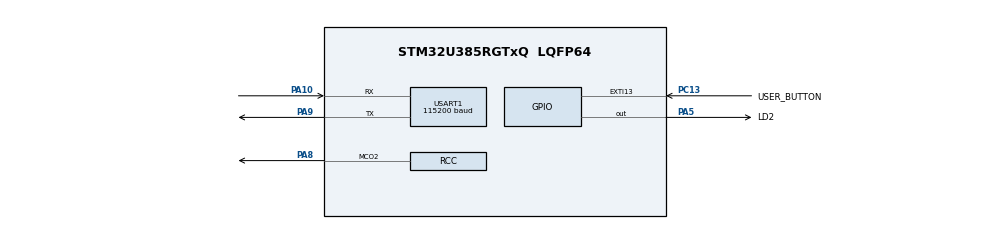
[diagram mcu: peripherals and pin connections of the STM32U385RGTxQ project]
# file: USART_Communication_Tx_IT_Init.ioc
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CORTEX_M33_NS.userName=CORTEX_M33
Mcu.Family=STM32U3
Mcu.Name=STM32U385RGTxQ
Mcu.Package=LQFP64
NVIC.EXTI13_IRQn=true\:3\:0\:true\:false\:true\:true\:true\:true
NVIC.PriorityGroup=NVIC_PRIORITYGROUP_4
NVIC.USART1_IRQn=true\:0\:0\:false\:false\:true\:true\:true\:true
PA10.GPIO_PuPd=GPIO_PULLUP
PA10.GPIO_Speed=GPIO_SPEED_FREQ_HIGH
PA10.Mode=Asynchronous
PA10.Signal=USART1_RX
PA5.GPIO_Label=LD2
PA5.GPIO_PuPd=GPIO_NOPULL
PA5.Signal=GPIO_Output
PA8.Mode=Clock-out-2
PA8.Signal=RCC_MCO2
PA9.GPIO_PuPd=GPIO_PULLUP
PA9.GPIO_Speed=GPIO_SPEED_FREQ_HIGH
PA9.Mode=Asynchronous
PA9.Signal=USART1_TX
PC13.GPIO_Label=USER_BUTTON
PC13.GPIO_ModeDefaultEXTI=GPIO_MODE_IT_RISING
PC13.GPIO_PuPd=GPIO_PULLDOWN
PC13.Signal=GPXTI13
ProjectManager.HeapSize=0x200
ProjectManager.StackSize=0x400
ProjectManager.TargetToolchain=EWARM V9.20
RCC.ADCFreq_Value=96000000
RCC.AHBFreq_Value=96000000
RCC.APB1Freq_Value=96000000
RCC.APB1TimFreq_Value=96000000
RCC.APB2Freq_Value=96000000
RCC.APB2TimFreq_Value=96000000
RCC.APB3Freq_Value=96000000
RCC.CortexFreq_Value=12000000
RCC.HCLKFreq_Value=96000000
RCC.HSE_VALUE=16000000
RCC.HSI48_VALUE=48000000
RCC.HSI_VALUE=16000000
RCC.LSE_VALUE=32768
RCC.LSIDIV_VALUE=32000
RCC.MSISDIV=RCC_MSI_DIV1
RCC.MSI_VALUE=96000000
RCC.PWR_Regulator_Voltage_Scale=PWR_REGULATOR_VOLTAGE_SCALE1
RCC.SYSCLKFreq_VALUE=96000000
RCC.USBFreq_Value=96000000
USART1.BaudRate=115200
USART1.DMADisableonRxErrorParam=ADVFEATURE_DMA_ENABLEONRXERROR
USART1.DataInvertParam=ADVFEATURE_DATAINV_DISABLE
USART1.MSBFirstParam=ADVFEATURE_MSBFIRST_DISABLE
USART1.Mode=MODE_TX_RX
USART1.OneBitSampling=UART_ONE_BIT_SAMPLE_DISABLE
USART1.OverSampling=UART_OVERSAMPLING_16
USART1.OverrunDisableParam=ADVFEATURE_OVERRUN_ENABLE
USART1.Parity=PARITY_NONE
USART1.RxPinLevelInvertParam=ADVFEATURE_RXINV_DISABLE
USART1.StopBits=STOPBITS_1
USART1.SwapParam=ADVFEATURE_SWAP_DISABLE
USART1.TxPinLevelInvertParam=ADVFEATURE_TXINV_DISABLE
USART1.VirtualMode-Asynchronous=VM_ASYNC
USART1.WordLength=WORDLENGTH_8B
VP_ICACHE_VS_ICACHE.Mode=DirectMappedCache
VP_PWR_VS_DBSignals.Mode=DisableDeadBatterySignals
VP_PWR_VS_LPOM.Mode=PowerOptimisation
VP_PWR_VS_SECSignals.Mode=Security/Privilege
board=custom

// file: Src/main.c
/* USER CODE BEGIN Header */
/**
  ******************************************************************************
  * @file    Examples_LL/USART/USART_Communication_Tx_IT_Init/Src/main.c
  * @author  MCD Application Team
  * @brief   This example describes how to send bytes over USART IP using
  *          the STM32U3xx USART LL API.
  *          Peripheral initialization done using LL unitary services functions.
  ******************************************************************************
  * @attention
  *
  * Copyright (c) 2024 STMicroelectronics.
  * All rights reserved.
  *
  * This software is licensed under terms that can be found in the LICENSE file
  * in the root directory of this software component.
  * If no LICENSE file comes with this software, it is provided AS-IS.
  *
  ******************************************************************************
  */
/* USER CODE END Header */
#include "main.h"

/* USER CODE BEGIN PV */

__IO uint8_t ubButtonPress = 0;
__IO uint8_t ubSend = 0;
const uint8_t aStringToSend[] = "STM32U3xx USART LL API Example : TX in IT mode\r\nConfiguration UART 115200 bps, 8 data bit/1 stop bit/No parity/No HW flow control\r\n";
uint8_t ubSizeToSend = sizeof(aStringToSend);

/* USER CODE END PV */

void SystemClock_Config(void);
static void MX_GPIO_Init(void);
static void MX_ICACHE_Init(void);
static void MX_USART1_UART_Init(void);
/* USER CODE BEGIN PFP */
void     LED_On(void);
void     LED_Off(void);
void     LED_Blinking(uint32_t Period);

/* USER CODE END PFP */

int main(void)
{

  /* MCU Configuration--------------------------------------------------------*/

  /* Reset of all peripherals, Initializes the Flash interface and the Systick. */

  /* System interrupt init*/
  NVIC_SetPriorityGrouping(NVIC_PRIORITYGROUP_4);

  /* Configure the system clock */
  SystemClock_Config();

  /* Initialize all configured peripherals */
  MX_GPIO_Init();
  MX_ICACHE_Init();
  MX_USART1_UART_Init();
  /* USER CODE BEGIN 2 */
  /* Polling USART initialisation */
  while ((!(LL_USART_IsActiveFlag_TEACK(USART1))) || (!(LL_USART_IsActiveFlag_REACK(USART1))))
  {
  }
  /* Enable RXNE and Error interrupts */
  LL_USART_EnableIT_RXNE(USART1);
  LL_USART_EnableIT_ERROR(USART1);

  /* Set LD2 Off */
  LED_Off();

  /* USER CODE END 2 */

  /* Infinite loop */
  while (1)
  {

  }
}

void SystemClock_Config(void)
{
  /** Enable Epod Booster
  */
  LL_AHB1_GRP2_EnableClock(LL_AHB1_GRP2_PERIPH_PWR);
  LL_RCC_SetEPODBoosterClkSource(LL_RCC_EPODBOOSTCLKSRCE_MSIS);
  LL_RCC_SetEPODBoosterClkPrescaler(LL_RCC_EPODBOOSTCLKPRESCAL_1);
  LL_PWR_EnableEPODBooster();
  while(LL_PWR_IsActiveFlag_BOOST() != 1U)
  {
  }

  /** Configure the main internal regulator output voltage
  */
  LL_PWR_SetRegulVoltageScaling(LL_PWR_REGU_VOLTAGE_SCALE1);
  while(LL_PWR_GetRegulCurrentVOS() != LL_PWR_REGU_VOLTAGE_SCALE1)
  {
  }

  /** Set Flash latency before switching to MSIS
  */
  LL_FLASH_SetLatency(LL_FLASH_LATENCY_2);
  while(LL_FLASH_GetLatency() != LL_FLASH_LATENCY_2)
  {
  }

  /** Activate MSIS as source
  */
  LL_RCC_MSIS_SetClockSource(LL_RCC_MSIS_CLOCK_SOURCE_RC0);
  LL_RCC_MSIS_SetClockDivision(LL_RCC_MSIS_CLOCK_SOURCE_RC_DIV_1);
  LL_RCC_MSI_SetMSIxClockRange();
  LL_RCC_SetSysClkSource(LL_RCC_SYS_CLKSOURCE_MSIS);

  /** Wait till System clock is ready
  */
  while(LL_RCC_GetSysClkSource() != LL_RCC_SYS_CLKSOURCE_MSIS)
  {
  }

  LL_RCC_SetAHBPrescaler(LL_RCC_HCLK_SYSCLK_DIV_1);
  LL_RCC_SetAPB1Prescaler(LL_RCC_APB1_HCLK_DIV_1);
  LL_RCC_SetAPB2Prescaler(LL_RCC_APB2_HCLK_DIV_1);
  LL_RCC_SetAPB3Prescaler(LL_RCC_APB3_HCLK_DIV_1);

  LL_Init1msTick(96000000);

  LL_SetSystemCoreClock(96000000);
  LL_RCC_SetSourceClockMCO2(LL_RCC_MCO2SOURCE_SYSCLK);
  LL_RCC_SetClockPrescalerMCO2(LL_RCC_MCO2_DIV_1);
}

static void MX_ICACHE_Init(void)
{

  /** Enable instruction cache in 1-way (direct mapped cache)
  */
  LL_ICACHE_SetMode(LL_ICACHE_1WAY);
  LL_ICACHE_Enable();

}

static void MX_USART1_UART_Init(void)
{

  LL_USART_InitTypeDef USART_InitStruct = {0};

  LL_GPIO_InitTypeDef GPIO_InitStruct = {0};

  LL_RCC_SetUSARTClockSource(LL_RCC_USART1_CLKSOURCE_PCLK2);

  /* Peripheral clock enable */
  LL_APB2_GRP1_EnableClock(LL_APB2_GRP1_PERIPH_USART1);

  LL_AHB2_GRP1_EnableClock(LL_AHB2_GRP1_PERIPH_GPIOA);
  /**USART1 GPIO Configuration
  PA9   ------> USART1_TX
  PA10   ------> USART1_RX
  */
  GPIO_InitStruct.Pin = LL_GPIO_PIN_9|LL_GPIO_PIN_10;
  GPIO_InitStruct.Mode = LL_GPIO_MODE_ALTERNATE;
  GPIO_InitStruct.Speed = LL_GPIO_SPEED_FREQ_HIGH;
  GPIO_InitStruct.OutputType = LL_GPIO_OUTPUT_PUSHPULL;
  GPIO_InitStruct.Pull = LL_GPIO_PULL_UP;
  GPIO_InitStruct.Alternate = LL_GPIO_AF_7;
  LL_GPIO_Init(GPIOA, &GPIO_InitStruct);

  /* USART1 interrupt Init */
  NVIC_SetPriority(USART1_IRQn, NVIC_EncodePriority(NVIC_GetPriorityGrouping(),0, 0));
  NVIC_EnableIRQ(USART1_IRQn);

  USART_InitStruct.PrescalerValue = LL_USART_PRESCALER_DIV1;
  USART_InitStruct.BaudRate = 115200;
  USART_InitStruct.DataWidth = LL_USART_DATAWIDTH_8B;
  USART_InitStruct.StopBits = LL_USART_STOPBITS_1;
  USART_InitStruct.Parity = LL_USART_PARITY_NONE;
  USART_InitStruct.TransferDirection = LL_USART_DIRECTION_TX_RX;
  USART_InitStruct.HardwareFlowControl = LL_USART_HWCONTROL_NONE;
  USART_InitStruct.OverSampling = LL_USART_OVERSAMPLING_16;
  LL_USART_Init(USART1, &USART_InitStruct);
  LL_USART_SetTXFIFOThreshold(USART1, LL_USART_FIFOTHRESHOLD_1_8);
  LL_USART_SetRXFIFOThreshold(USART1, LL_USART_FIFOTHRESHOLD_1_8);
  LL_USART_DisableFIFO(USART1);
  LL_USART_ConfigAsyncMode(USART1);
  LL_USART_Enable(USART1);

}

static void MX_GPIO_Init(void)
{
  LL_EXTI_InitTypeDef EXTI_InitStruct = {0};
  LL_GPIO_InitTypeDef GPIO_InitStruct = {0};

  /* GPIO Ports Clock Enable */
  LL_AHB2_GRP1_EnableClock(LL_AHB2_GRP1_PERIPH_GPIOC);
  LL_AHB2_GRP1_EnableClock(LL_AHB2_GRP1_PERIPH_GPIOA);

  /**/
  LL_GPIO_ResetOutputPin(LD2_GPIO_Port, LD2_Pin);

  /**/
  LL_EXTI_SetEXTISource(LL_EXTI_CONFIG_PORTC, LL_EXTI_CONFIG_LINE13);

  /**/
  EXTI_InitStruct.Line_0_31 = LL_EXTI_LINE_13;
  EXTI_InitStruct.LineCommand = ENABLE;
  EXTI_InitStruct.Mode = LL_EXTI_MODE_IT;
  EXTI_InitStruct.Trigger = LL_EXTI_TRIGGER_RISING;
  LL_EXTI_Init(&EXTI_InitStruct);

  /**/
  LL_GPIO_SetPinPull(USER_BUTTON_GPIO_Port, USER_BUTTON_Pin, LL_GPIO_PULL_DOWN);

  /**/
  LL_GPIO_SetPinMode(USER_BUTTON_GPIO_Port, USER_BUTTON_Pin, LL_GPIO_MODE_INPUT);

  /**/
  GPIO_InitStruct.Pin = LD2_Pin;
  GPIO_InitStruct.Mode = LL_GPIO_MODE_OUTPUT;
  GPIO_InitStruct.Speed = LL_GPIO_SPEED_FREQ_LOW;
  GPIO_InitStruct.OutputType = LL_GPIO_OUTPUT_PUSHPULL;
  GPIO_InitStruct.Pull = LL_GPIO_PULL_NO;
  LL_GPIO_Init(LD2_GPIO_Port, &GPIO_InitStruct);

  /**/
  GPIO_InitStruct.Pin = LL_GPIO_PIN_8;
  GPIO_InitStruct.Mode = LL_GPIO_MODE_ALTERNATE;
  GPIO_InitStruct.Speed = LL_GPIO_SPEED_FREQ_HIGH;
  GPIO_InitStruct.OutputType = LL_GPIO_OUTPUT_PUSHPULL;
  GPIO_InitStruct.Pull = LL_GPIO_PULL_NO;
  GPIO_InitStruct.Alternate = LL_GPIO_AF_11;
  LL_GPIO_Init(GPIOA, &GPIO_InitStruct);

  /* EXTI interrupt init*/
  NVIC_SetPriority(EXTI13_IRQn, NVIC_EncodePriority(NVIC_GetPriorityGrouping(),3, 0));
  NVIC_EnableIRQ(EXTI13_IRQn);

}

/* USER CODE BEGIN 4 */

/**
  * @brief  Turn-on LD2.
  * @param  None
  * @retval None
  */
void LED_On(void)
{
  /* Turn LD2 on */
  LL_GPIO_SetOutputPin(LD2_GPIO_Port, LD2_Pin);
}

/**
  * @brief  Turn-off LD2.
  * @param  None
  * @retval None
  */
void LED_Off(void)
{
  /* Turn LD2 off */
  LL_GPIO_ResetOutputPin(LD2_GPIO_Port, LD2_Pin);
}

/**
  * @brief  Set LD2 to Blinking mode for an infinite loop (toggle period based on value provided as input parameter).
  * @param  Period : Period of time (in ms) between each toggling of LED
  *   This parameter can be user defined values. Pre-defined values used in that example are :
  *     @arg LED_BLINK_FAST : Fast Blinking
  *     @arg LED_BLINK_SLOW : Slow Blinking
  *     @arg LED_BLINK_ERROR : Error specific Blinking
  * @retval None
  */
void LED_Blinking(uint32_t Period)
{
  /* Toggle LD2 in an infinite loop */
  while (1)
  {
    LL_GPIO_TogglePin(LD2_GPIO_Port, LD2_Pin);
    LL_mDelay(Period);
  }
}

/******************************************************************************/
/*   USER IRQ HANDLER TREATMENT Functions                                     */
/******************************************************************************/
/**
  * @brief  Function to manage User push-button
  * @param  None
  * @retval None
  */
void UserButton_Callback(void)
{
  /* Start transfer only if not already ongoing */
  if (ubSend == 0)
  {
    /* Start USART transmission : Will initiate TXE interrupt after TDR register is empty */
    LL_USART_TransmitData8(USART1, aStringToSend[ubSend++]);

    /* Enable TXE interrupt */
    LL_USART_EnableIT_TXE(USART1);
  }
}

/**
  * @brief  Function called for achieving next TX Byte sending
  * @param  None
  * @retval None
  */
void USART_TXEmpty_Callback(void)
{
  if (ubSend == (ubSizeToSend - 1))
  {
    /* Disable TXE interrupt */
    LL_USART_DisableIT_TXE(USART1);

    /* Enable TC interrupt */
    LL_USART_EnableIT_TC(USART1);
  }

  /* Fill TDR with a new char */
  LL_USART_TransmitData8(USART1, aStringToSend[ubSend++]);
}

/**
  * @brief  Function called at completion of last byte transmission
  * @param  None
  * @retval None
  */
void USART_CharTransmitComplete_Callback(void)
{
  if (ubSend == sizeof(aStringToSend))
  {
    ubSend = 0;

    /* Disable TC interrupt */
    LL_USART_DisableIT_TC(USART1);

    /* Turn LD2 On at end of transfer : Tx sequence completed successfully */
    LED_On();
  }
}

/**
  * @brief  Function called in case of error detected in USART IT Handler
  * @param  None
  * @retval None
  */
void Error_Callback(void)
{
  __IO uint32_t isr_reg;

  /* Disable USARTx_IRQn */
  NVIC_DisableIRQ(USART1_IRQn);

  /* Error handling example :
    - Read USART ISR register to identify flag that leads to IT raising
    - Perform corresponding error handling treatment according to flag
  */
  isr_reg = LL_USART_ReadReg(USART1, ISR);
  if (isr_reg & LL_USART_ISR_NE)
  {
    /* case Noise Error flag is raised : ... */
    LED_Blinking(LED_BLINK_FAST);
  }
  else
  {
    /* Unexpected IT source : Set LED to Blinking mode to indicate error occurs */
    LED_Blinking(LED_BLINK_ERROR);
  }
}

/* USER CODE END 4 */

void Error_Handler(void)
{
  /* USER CODE BEGIN Error_Handler_Debug */
  /* User can add his own implementation to report the HAL error return state */
  /*Infinite loop */
  while (1)
  {
  }
  /* USER CODE END Error_Handler_Debug */
}

#ifdef  USE_FULL_ASSERT
/**
  * @brief  Reports the name of the source file and the source line number
  *         where the assert_param error has occurred.
  * @param  file: pointer to the source file name
  * @param  line: assert_param error line source number
  * @retval None
  */
void assert_failed(uint8_t *file, uint32_t line)
{
  /* USER CODE BEGIN 6 */
  /* User can add his own implementation to report the file name and line number,
     tex: printf("Wrong parameters value: file %s on line %d\r\n", file, line) */
  /*Infinite loop */
  while (1)
  {
  }
  /* USER CODE END 6 */
}
#endif /* USE_FULL_ASSERT */
